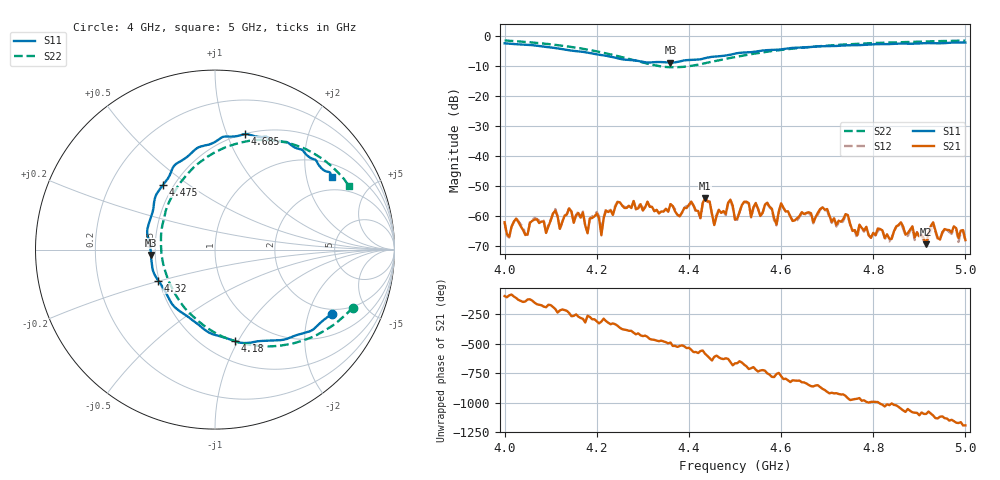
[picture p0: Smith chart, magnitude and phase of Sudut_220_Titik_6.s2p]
# Hz S RI R 50
! CMT, C1220, 16058040, 17.2.0/1
! Date: 15/08/2018 12:12:28
! Data: Format (Calibration Info)
! Freq  S11: Re/Im (F2)  S21: Re/Im (F2)  S12: Re/Im (F2)  S22: Re/Im (F2)
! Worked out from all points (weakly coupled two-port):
!   201 points, 4 GHz to 5 GHz, reference 50 ohm
!   highest |S21| = -54.02 dB at 4.435 GHz (marker M1); lowest = -69.3 dB at 4.915 GHz (marker M2)
!   lowest |S11| = -8.9 dB at 4.36 GHz (marker M3), VSWR 2.11, Z = 23.7 - j1.65 ohm
!   |S11| at or under -10 dB: nowhere
!   |S22| runs from -10.5 to -1.6 dB; largest |S21 - S12| = 0.00012
!   S11 on the Smith chart (normalised r, x): 4 GHz: 1.80, -2.89; 4.18 GHz: 0.69, -0.97; 4.32 GHz: 0.49, -0.20; 4.475 GHz: 0.44, +0.41; 4.685 GHz: 0.50, +1.17; 5 GHz: 1.44, +2.84
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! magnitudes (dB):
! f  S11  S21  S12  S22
! 4 GHz  -2.6  -62.0  -62.1  -1.6
! 4.17 GHz  -5.4  -58.8  -58.4  -4.4
! 4.18 GHz  -5.6  -65.6  -65.1  -4.6
! 4.245 GHz  -7.5  -55.3  -55.1  -6.8
! 4.32 GHz  -8.9  -56.9  -57.0  -9.7
! 4.335 GHz  -8.8  -59.0  -59.0  -10.1
! 4.36 GHz  -8.9  -55.9  -55.9  -10.5
! 4.425 GHz  -7.8  -60.5  -60.7  -9.5
! 4.435 GHz  -7.5  -54.0  -54.0  -9.2
! 4.455 GHz  -6.9  -62.9  -62.6  -8.5
! 4.475 GHz  -6.7  -58.2  -58.4  -7.9
! 4.5 GHz  -6.0  -61.1  -61.1  -7.1
! 4.57 GHz  -4.8  -55.5  -55.8  -5.3
! 4.59 GHz  -4.7  -62.7  -63.0  -4.9
! 4.6 GHz  -4.6  -55.7  -55.6  -4.7
! 4.67 GHz  -3.7  -62.0  -62.3  -3.7
! 4.685 GHz  -3.5  -57.5  -57.8  -3.5
! 4.835 GHz  -2.8  -67.5  -68.4  -2.3
! 4.86 GHz  -2.6  -62.0  -62.2  -2.1
! 4.915 GHz  -2.5  -69.3  -69.9  -1.9
! 4.93 GHz  -2.5  -62.0  -63.4  -1.9
! 5 GHz  -2.3  -67.9  -68.5  -1.6
